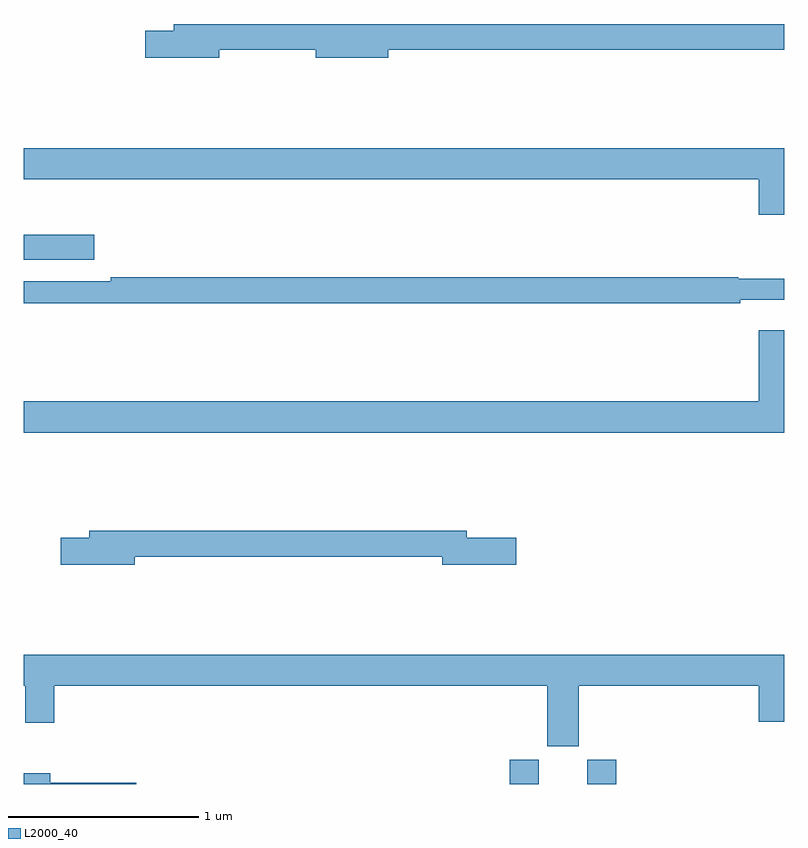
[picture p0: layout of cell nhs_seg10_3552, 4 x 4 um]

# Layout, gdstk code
import gdstk
lib = gdstk.Library(unit=1e-6, precision=1e-09)
def R(c, l, rs):  # rectangles x0, y0, x1, y1
    for r in rs: c.add(gdstk.rectangle(r[:2], r[2:], *l))
def P(c, l, *ps):  # polygons
    for p in ps: c.add(gdstk.Polygon(p, *l))
L2000_40 = (2000, 40)

nhs_seg10_3552 = lib.new_cell('nhs_seg10_3552')
R(nhs_seg10_3552, L2000_40, [(307.556,1266.5,307.708,1266.627), (307.964,1266.5,308.117,1266.627), (305,1269.257,305.371,1269.387)])
P(nhs_seg10_3552, L2000_40, [(306.028,1270.36),(306.536,1270.36),(306.536,1270.318),(306.916,1270.318),(306.916,1270.36),(309,1270.36),(309,1270.496),(305.789,1270.496),(305.789,1270.46),(305.64,1270.46),(305.64,1270.318),(306.028,1270.318)],
  [(309,1269.844),(305,1269.844),(305,1269.68),(308.864,1269.68),(308.864,1269.492),(309,1269.492)],
  [(308.768,1269.047),(309,1269.047),(309,1269.157),(308.758,1269.157),(308.758,1269.164),(305.458,1269.164),(305.458,1269.144),(305,1269.144),(305,1269.028),(308.768,1269.028)],
  [(309,1268.887),(308.864,1268.887),(308.864,1268.512),(305,1268.512),(305,1268.348),(309,1268.348)],
  [(305.584,1267.696),(307.202,1267.696),(307.202,1267.654),(307.591,1267.654),(307.591,1267.796),(307.33,1267.796),(307.33,1267.832),(305.345,1267.832),(305.345,1267.796),(305.196,1267.796),(305.196,1267.654),(305.584,1267.654)],
  [(307.918,1267.016),(308.864,1267.016),(308.864,1266.828),(309,1266.828),(309,1267.18),(305,1267.18),(305,1267.016),(305.009,1267.016),(305.009,1266.822),(305.162,1266.822),(305.162,1267.016),(307.754,1267.016),(307.754,1266.699),(307.918,1266.699)],
  [(305.593,1266.506),(305.14,1266.506),(305.14,1266.556),(305,1266.556),(305,1266.5),(305.593,1266.5)])

lib.write_gds('nhs_seg10_3552.gds')
